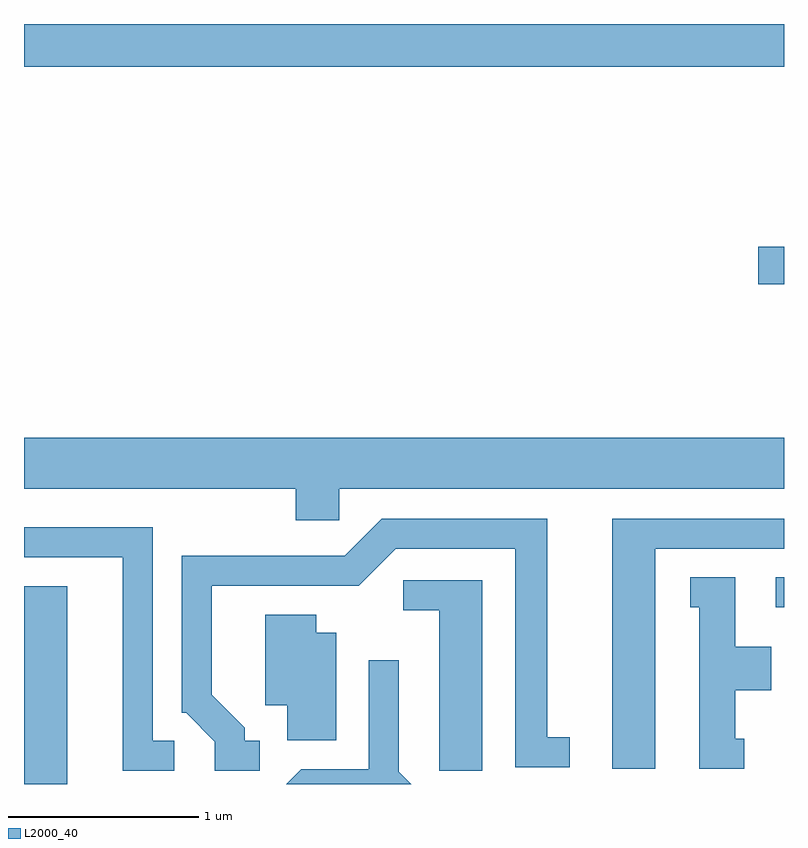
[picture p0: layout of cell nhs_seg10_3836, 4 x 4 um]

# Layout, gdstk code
import gdstk
lib = gdstk.Library(unit=1e-6, precision=1e-09)
def R(c, l, rs):  # rectangles x0, y0, x1, y1
    for r in rs: c.add(gdstk.rectangle(r[:2], r[2:], *l))
def P(c, l, *ps):  # polygons
    for p in ps: c.add(gdstk.Polygon(p, *l))
L2000_40 = (2000, 40)

nhs_seg10_3836 = lib.new_cell('nhs_seg10_3836')
R(nhs_seg10_3836, L2000_40, [(297.611,2174.522,297.839,2175.564), (301.568,2175.451,301.611,2175.609), (301.476,2177.151,301.611,2177.349), (297.611,2178.296,301.611,2178.522)])
P(nhs_seg10_3836, L2000_40, [(299.269,2176.076),(301.611,2176.076),(301.611,2176.344),(297.611,2176.344),(297.611,2176.076),(299.041,2176.076),(299.041,2175.911),(299.269,2175.911)],
  [(300.934,2175.761),(301.611,2175.761),(301.611,2175.919),(300.706,2175.919),(300.706,2174.601),(300.934,2174.601)],
  [(298.853,2174.749),(298.774,2174.749),(298.774,2174.817),(298.599,2174.992),(298.599,2175.566),(299.372,2175.566),(299.567,2175.761),(300.196,2175.761),(300.196,2174.611),(300.483,2174.611),(300.483,2174.769),(300.364,2174.769),(300.364,2175.919),(299.494,2175.919),(299.299,2175.724),(298.441,2175.724),(298.441,2174.896),(298.464,2174.896),(298.616,2174.744),(298.616,2174.591),(298.853,2174.591)],
  [(298.403,2174.749),(298.289,2174.749),(298.289,2175.874),(297.611,2175.874),(297.611,2175.716),(298.131,2175.716),(298.131,2174.591),(298.403,2174.591)],
  [(301.403,2174.759),(301.354,2174.759),(301.354,2175.016),(301.544,2175.016),(301.544,2175.244),(301.354,2175.244),(301.354,2175.609),(301.118,2175.609),(301.118,2175.451),(301.166,2175.451),(301.166,2174.601),(301.403,2174.601)],
  [(300.024,2175.594),(299.608,2175.594),(299.608,2175.436),(299.796,2175.436),(299.796,2174.591),(300.024,2174.591)],
  [(299.254,2175.319),(299.149,2175.319),(299.149,2175.414),(298.881,2175.414),(298.881,2174.936),(298.996,2174.936),(298.996,2174.751),(299.254,2174.751)],
  [(299.584,2174.587),(299.584,2175.173),(299.426,2175.173),(299.426,2174.599),(299.069,2174.599),(298.992,2174.522),(299.649,2174.522)])

lib.write_gds('nhs_seg10_3836.gds')
